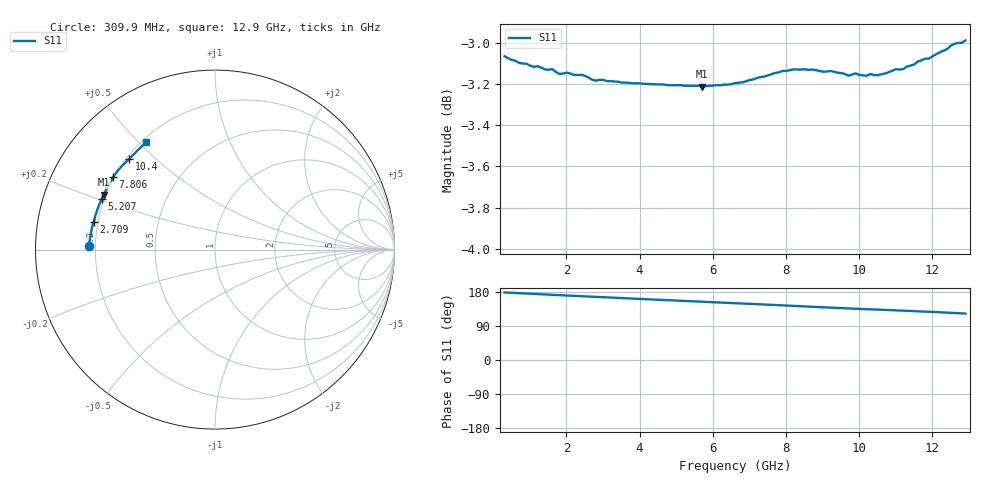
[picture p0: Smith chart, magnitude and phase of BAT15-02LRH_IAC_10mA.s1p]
! Infineon Technologies  Discrete & RF Semiconductors
! BAT15-02LRH
! IAC = 10 mA
! One-Port S-Parameters
# Hz  S  MA  R  50
!f  S11
!Hz  Mag  Ang
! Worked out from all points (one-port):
!   127 points, 309.9 MHz to 12.9 GHz, reference 50 ohm
!   lowest |S11| = -3.2 dB at 5.707 GHz (marker M1), VSWR 5.47, Z = 9.62 + j11.2 ohm
!   |S11| at or under -10 dB: nowhere
!   S11 on the Smith chart (normalised r, x): 309.9 MHz: 0.17, +0.01; 2.709 GHz: 0.18, +0.11; 5.207 GHz: 0.19, +0.21; 7.806 GHz: 0.20, +0.31; 10.4 GHz: 0.21, +0.41; 12.9 GHz: 0.22, +0.53
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3.0985e8  0.7027 178.3
1.2094e9  0.6988 174.0
1.70915e9  0.6966 171.6
1.90905e9  0.6959 170.7
2.4088e9  0.6954 168.4
2.70865e9  0.6935 167.0
3.50825e9  0.6924 163.4
4.008e9  0.6921 161.2
5.10745e9  0.6915 156.3
5.2074e9  0.6912 155.9
5.70715e9  0.6908 153.8
6.6067e9  0.6922 149.9
7.2064e9  0.6942 147.4
7.8061e9  0.6964 144.7
8.2059e9  0.6976 142.8
8.50575e9  0.6976 141.4
9.10545e9  0.6967 138.7
9.8051e9  0.6955 135.7
1.04048e10  0.6953 133.3
1.14043e10  0.699 129.4
1.150425e10  0.6995 129.0
1.16042e10  0.7006 128.5
1.2004e10  0.7027 126.9
1.210395e10  0.7035 126.3
1.250375e10  0.7068 124.5
1.26037e10  0.7076 124.0
1.28036e10  0.708 123.0
1.290355e10  0.7089 122.6
